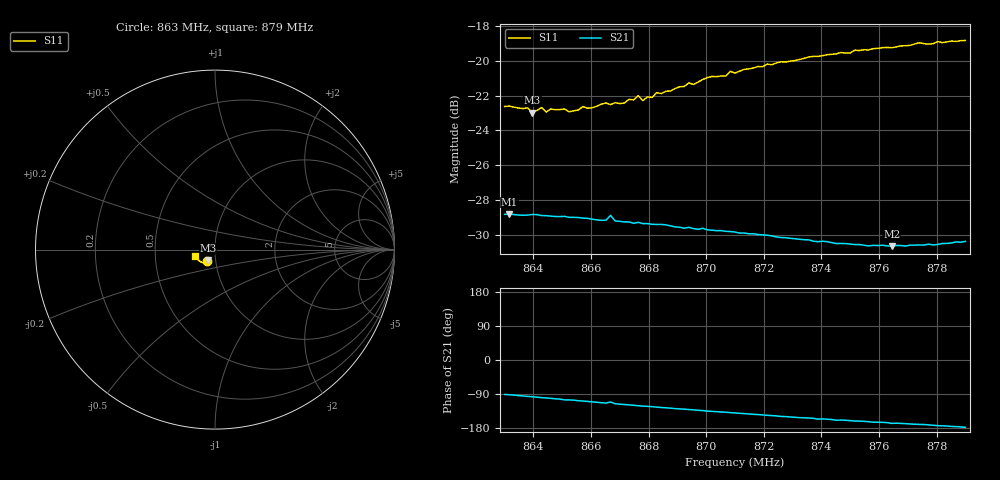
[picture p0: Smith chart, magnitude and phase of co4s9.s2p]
# HZ S RI R 50
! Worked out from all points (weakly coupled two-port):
!   101 points, 863 MHz to 879 MHz, reference 50 ohm
!   highest |S21| = -28.81 dB at 863.16 MHz (marker M1); lowest = -30.7 dB at 876.44 MHz (marker M2)
!   lowest |S11| = -23.0 dB at 863.96 MHz (marker M3), VSWR 1.15, Z = 45.9 - j5.48 ohm
!   |S11| at or under -10 dB: start of sweep to end of sweep
!   S12 and S22 are empty: the file has one direction only
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8.63e8  -0.0418 -0.061  -0.000556 -0.0362  0 0  0 0
8.6316e8  -0.0427 -0.0606  -0.00111 -0.0362  0 0  0 0
8.638e8  -0.0408 -0.0609  -0.00384 -0.0358  0 0  0 0
8.6396e8  -0.039 -0.0593  -0.00432 -0.0359  0 0  0 0
8.6428e8  -0.04 -0.0617  -0.00577 -0.0354  0 0  0 0
8.6444e8  -0.0384 -0.0601  -0.0063 -0.0353  0 0  0 0
8.646e8  -0.0395 -0.0611  -0.00685 -0.0351  0 0  0 0
8.6524e8  -0.0395 -0.0595  -0.00943 -0.0342  0 0  0 0
8.6572e8  -0.0372 -0.0639  -0.011 -0.0335  0 0  0 0
8.6652e8  -0.0379 -0.0655  -0.0139 -0.0319  0 0  0 0
8.6668e8  -0.0336 -0.0669  -0.0127 -0.0336  0 0  0 0
8.6684e8  -0.0387 -0.0652  -0.0149 -0.0313  0 0  0 0
8.6716e8  -0.0369 -0.0661  -0.0159 -0.0305  0 0  0 0
8.6764e8  -0.0404 -0.0684  -0.0175 -0.0295  0 0  0 0
8.678e8  -0.0387 -0.0665  -0.0178 -0.029  0 0  0 0
8.6828e8  -0.0404 -0.0703  -0.0191 -0.028  0 0  0 0
8.6844e8  -0.0402 -0.0698  -0.0196 -0.0276  0 0  0 0
8.7004e8  -0.0499 -0.0744  -0.023 -0.0231  0 0  0 0
8.71e8  -0.0543 -0.0747  -0.0245 -0.0208  0 0  0 0
8.7372e8  -0.0741 -0.0717  -0.0272 -0.0133  0 0  0 0
8.7644e8  -0.094 -0.0556  -0.0286 -0.00644  0 0  0 0
8.79e8  -0.109 -0.0355  -0.0302 -0.00123  0 0  0 0
